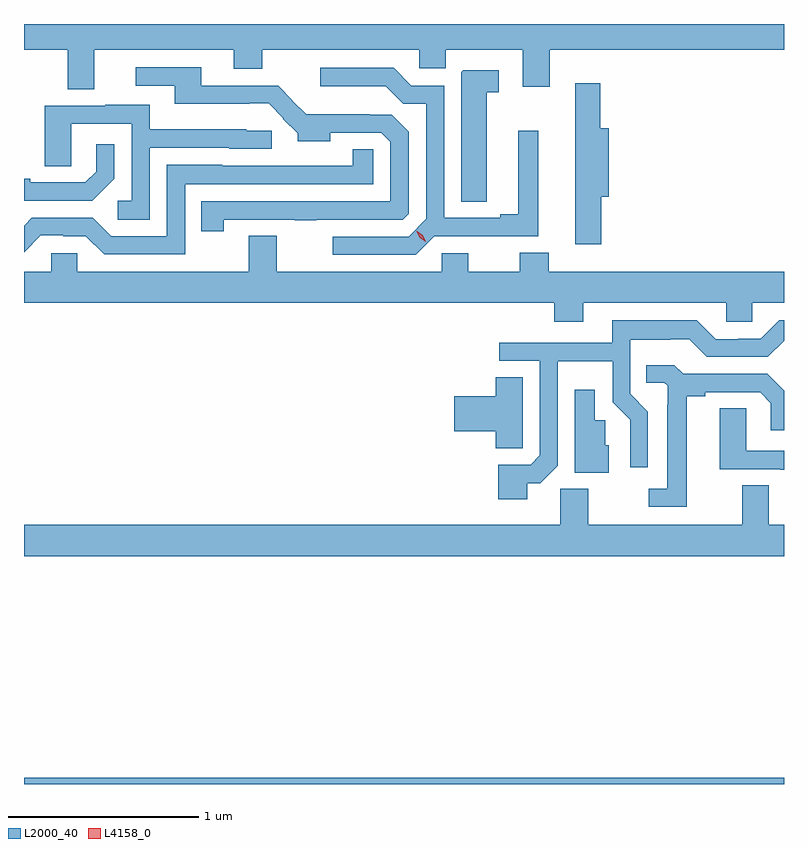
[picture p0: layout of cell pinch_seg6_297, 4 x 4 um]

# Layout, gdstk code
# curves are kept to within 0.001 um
import gdstk
lib = gdstk.Library(unit=1e-6, precision=1e-09)
def R(c, l, rs):  # rectangles x0, y0, x1, y1
    for r in rs: c.add(gdstk.rectangle(r[:2], r[2:], *l))
def P(c, l, *ps):  # polygons
    for p in ps: c.add(gdstk.Polygon(p, *l))
L2000_40 = (2000, 40)
L4158_0 = (4158, 0)

pinch_seg6_297 = lib.new_cell('pinch_seg6_297')
R(pinch_seg6_297, L2000_40, [(793.126,964.784,797.126,964.816)])
P(pinch_seg6_297, L2000_40, [(793.495,968.648),(794.231,968.648),(794.231,968.549),(794.379,968.549),(794.379,968.648),(795.207,968.648),(795.207,968.55),(795.346,968.55),(795.346,968.648),(795.752,968.648),(795.752,968.454),(795.892,968.454),(795.892,968.648),(797.126,968.648),(797.126,968.784),(793.126,968.784),(793.126,968.648),(793.355,968.648),(793.355,968.44),(793.495,968.44)],
  [(794.178,967.755),(794.551,967.755),(794.551,967.75),(794.663,967.75),(794.663,967.755),(795.12,967.755),(795.15,967.785),(795.15,968.217),(795.061,968.306),(794.945,968.306),(794.945,968.308),(794.611,968.308),(794.537,968.381),(794.539,968.383),(794.463,968.46),(794.059,968.46),(794.059,968.556),(793.713,968.556),(793.713,968.46),(793.919,968.46),(793.919,968.363),(794.312,968.363),(794.312,968.366),(794.414,968.366),(794.49,968.289),(794.487,968.286),(794.566,968.208),(794.566,968.168),(794.737,968.168),(794.737,968.211),(795.006,968.211),(795.054,968.163),(795.054,967.851),(794.059,967.851),(794.059,967.692),(794.178,967.692)],
  [(795.286,967.668),(795.832,967.668),(795.832,968.221),(795.728,968.221),(795.728,967.784),(795.632,967.784),(795.632,967.764),(795.339,967.764),(795.339,968.46),(795.165,968.46),(795.072,968.553),(794.685,968.553),(794.685,968.456),(795.031,968.456),(795.122,968.365),(795.243,968.365),(795.243,967.758),(795.15,967.665),(794.751,967.665),(794.751,967.569),(795.187,967.569)],
  [(795.562,968.425),(795.625,968.425),(795.625,968.541),(795.438,968.541),(795.428,968.531),(795.428,967.849),(795.562,967.849)],
  [(796.163,967.874),(796.204,967.874),(796.204,968.236),(796.16,968.236),(796.16,968.473),(796.028,968.473),(796.028,967.626),(796.163,967.626)],
  [(793.788,968.133),(794.205,968.133),(794.205,968.127),(794.43,968.127),(794.43,968.223),(794.295,968.223),(794.295,968.23),(793.789,968.23),(793.789,968.359),(793.553,968.359),(793.553,968.355),(793.235,968.355),(793.235,968.035),(793.374,968.035),(793.374,968.259),(793.692,968.259),(793.692,967.854),(793.62,967.854),(793.62,967.753),(793.788,967.753)],
  [(793.602,967.97),(793.602,968.152),(793.505,968.152),(793.505,968.007),(793.448,967.95),(793.159,967.95),(793.159,967.97),(793.126,967.97),(793.126,967.854),(793.486,967.854)],
  [(793.974,967.941),(794.964,967.941),(794.964,968.126),(794.856,968.126),(794.856,968.038),(794.169,968.037),(794.169,968.044),(793.878,968.044),(793.878,967.668),(793.584,967.668),(793.488,967.764),(793.167,967.764),(793.126,967.723),(793.126,967.582),(793.215,967.671),(793.332,967.671),(793.332,967.668),(793.452,967.668),(793.548,967.572),(793.974,967.572)],
  [(796.069,967.316),(796.821,967.316),(796.821,967.218),(796.959,967.218),(796.959,967.316),(797.126,967.316),(797.126,967.48),(795.887,967.48),(795.887,967.579),(795.734,967.579),(795.734,967.48),(795.463,967.48),(795.463,967.578),(795.324,967.578),(795.324,967.48),(794.455,967.48),(794.455,967.67),(794.308,967.67),(794.308,967.48),(793.407,967.48),(793.407,967.578),(793.269,967.578),(793.269,967.48),(793.126,967.48),(793.126,967.316),(795.917,967.316),(795.917,967.217),(796.069,967.217)],
  [(795.775,966.367),(795.843,966.367),(795.936,966.459),(795.936,967.01),(796.224,967.01),(796.224,966.794),(796.316,966.702),(796.316,966.45),(796.41,966.45),(796.41,966.744),(796.317,966.837),(796.317,967.121),(796.526,967.121),(796.526,967.125),(796.626,967.125),(796.719,967.032),(797.04,967.032),(797.126,967.118),(797.126,967.224),(797.1,967.224),(797.004,967.128),(796.884,967.128),(796.884,967.125),(796.767,967.125),(796.667,967.225),(796.223,967.225),(796.223,967.107),(795.627,967.107),(795.627,967.011),(795.84,967.011),(795.84,966.513),(795.792,966.465),(795.623,966.465),(795.623,966.282),(795.775,966.282)],
  [(796.615,966.826),(796.711,966.826),(796.711,966.846),(797,966.846),(797.057,966.789),(797.057,966.645),(797.126,966.645),(797.126,966.854),(797.038,966.942),(796.596,966.942),(796.548,966.989),(796.402,966.989),(796.402,966.897),(796.497,966.897),(796.515,966.879),(796.515,966.779),(796.511,966.779),(796.511,966.339),(796.413,966.339),(796.413,966.243),(796.615,966.243)],
  [(795.75,966.658),(795.751,966.658),(795.751,966.926),(795.608,966.926),(795.608,966.824),(795.39,966.824),(795.39,966.641),(795.608,966.641),(795.608,966.55),(795.75,966.55)],
  [(796.204,966.567),(796.185,966.567),(796.185,966.699),(796.129,966.699),(796.129,966.859),(796.025,966.859),(796.025,966.422),(796.204,966.422)],
  [(797.126,966.537),(796.926,966.537),(796.926,966.761),(796.787,966.761),(796.787,966.441),(797.105,966.441),(797.105,966.437),(797.126,966.437)],
  [(797.126,966.148),(797.047,966.148),(797.047,966.356),(796.907,966.356),(796.907,966.148),(796.095,966.148),(796.095,966.337),(795.948,966.337),(795.948,966.148),(793.126,966.148),(793.126,965.984),(797.126,965.984)])
P(pinch_seg6_297, L4158_0, [(795.241,967.638),(795.21,967.66),(795.194,967.693),(795.194,967.694),(795.195,967.694),(795.225,967.672),(795.241,967.639),(795.241,967.638)])

lib.write_gds('pinch_seg6_297.gds')
